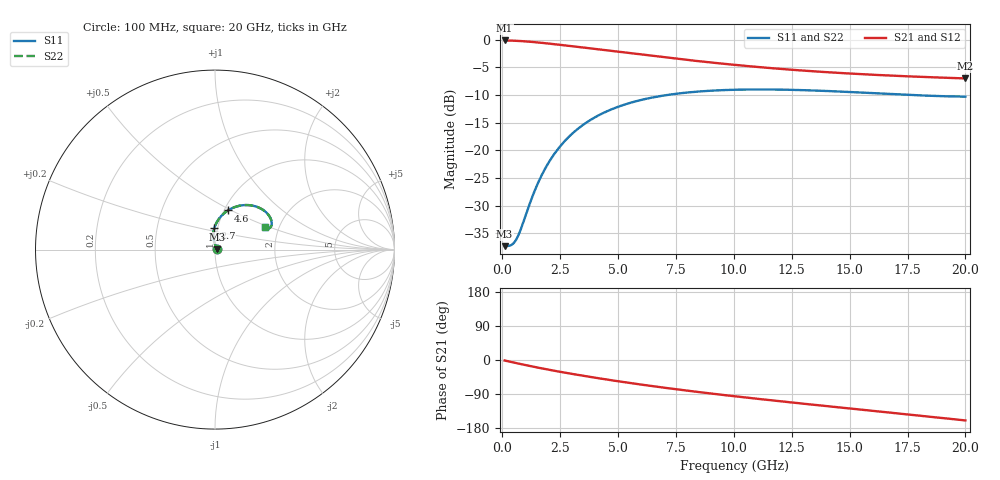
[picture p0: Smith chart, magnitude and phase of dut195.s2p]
! Created with skrf 1.9.0 (http://scikit-rf.org).
# GHz S RI R 50.0
!freq ReS11 ImS11 ReS21 ImS21 ReS12 ImS12 ReS22 ImS22
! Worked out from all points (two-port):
!   200 points, 100 MHz to 20 GHz, reference 50 ohm
!   highest |S21| = -0.12 dB at 100 MHz (marker M1); lowest = -7.0 dB at 20 GHz (marker M2)
!   |S21| within 3 dB of the highest: start of sweep to 6.911 GHz
!   lowest |S11| = -37.3 dB at 100 MHz (marker M3), VSWR 1.03, Z = 51.4 + j0.175 ohm
!   |S11| at or under -10 dB: start of sweep to 7.094 GHz; 17.74 GHz to end of sweep
!   |S22| runs from -37.3 to -9.0 dB; largest |S21 - S12| = 2.4e-15
!   S11 on the Smith chart (normalised r, x): 100 MHz: 1.03, +0.00; 2.7 GHz: 0.97, +0.24; 4.6 GHz: 1.04, +0.48; 20 GHz: 1.69, +0.47
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0.1  0.0135 0.0017  0.9859 -0.0234  0.9859 -0.0234  0.0135 0.0017
0.4  0.0116 0.00787  0.9785 -0.0933  0.9785 -0.0933  0.0116 0.00787
0.6  0.00904 0.0127  0.9692 -0.1385  0.9692 -0.1385  0.00904 0.0127
0.8  0.00585 0.0185  0.9565 -0.1821  0.9565 -0.1821  0.00585 0.0185
1.2  -0.00127 0.0335  0.9231 -0.2634  0.9231 -0.2634  -0.00127 0.0335
1.4  -0.00451 0.0429  0.9031 -0.3007  0.9031 -0.3007  -0.00451 0.0429
1.7  -0.00813 0.059  0.8699 -0.3524  0.8699 -0.3524  -0.00813 0.059
1.9  -0.00939 0.0707  0.8463 -0.384  0.8463 -0.384  -0.00939 0.0707
2.2  -0.00922 0.0894  0.809 -0.4274  0.809 -0.4274  -0.00922 0.0894
2.7  -0.00307 0.1216  0.7437 -0.4896  0.7437 -0.4896  -0.00307 0.1216
3.1  0.00692 0.1465  0.6899 -0.5312  0.6899 -0.5312  0.00692 0.1465
3.5  0.0207 0.1695  0.6355 -0.5661  0.6355 -0.5661  0.0207 0.1695
4  0.0422 0.1945  0.5676 -0.6013  0.5676 -0.6013  0.0422 0.1945
4.6  0.0719 0.218  0.4875 -0.6324  0.4875 -0.6324  0.0719 0.218
5.6  0.1248 0.2415  0.3602 -0.6614  0.3602 -0.6614  0.1248 0.2415
6.8  0.1846 0.248  0.2223 -0.6665  0.2223 -0.6665  0.1846 0.248
8.4  0.2473 0.2327  0.0674 -0.6399  0.0674 -0.6399  0.2473 0.2327
10.1  0.2897 0.2029  -0.0633 -0.5881  -0.0633 -0.5881  0.2897 0.2029
11.7  0.31 0.1731  -0.1604 -0.5285  -0.1604 -0.5285  0.31 0.1731
13.4  0.316 0.1462  -0.2426 -0.4593  -0.2426 -0.4593  0.316 0.1462
16.7  0.3013 0.1185  -0.3564 -0.3145  -0.3564 -0.3145  0.3013 0.1185
20  0.2784 0.1269  -0.4188 -0.157  -0.4188 -0.157  0.2784 0.1269
